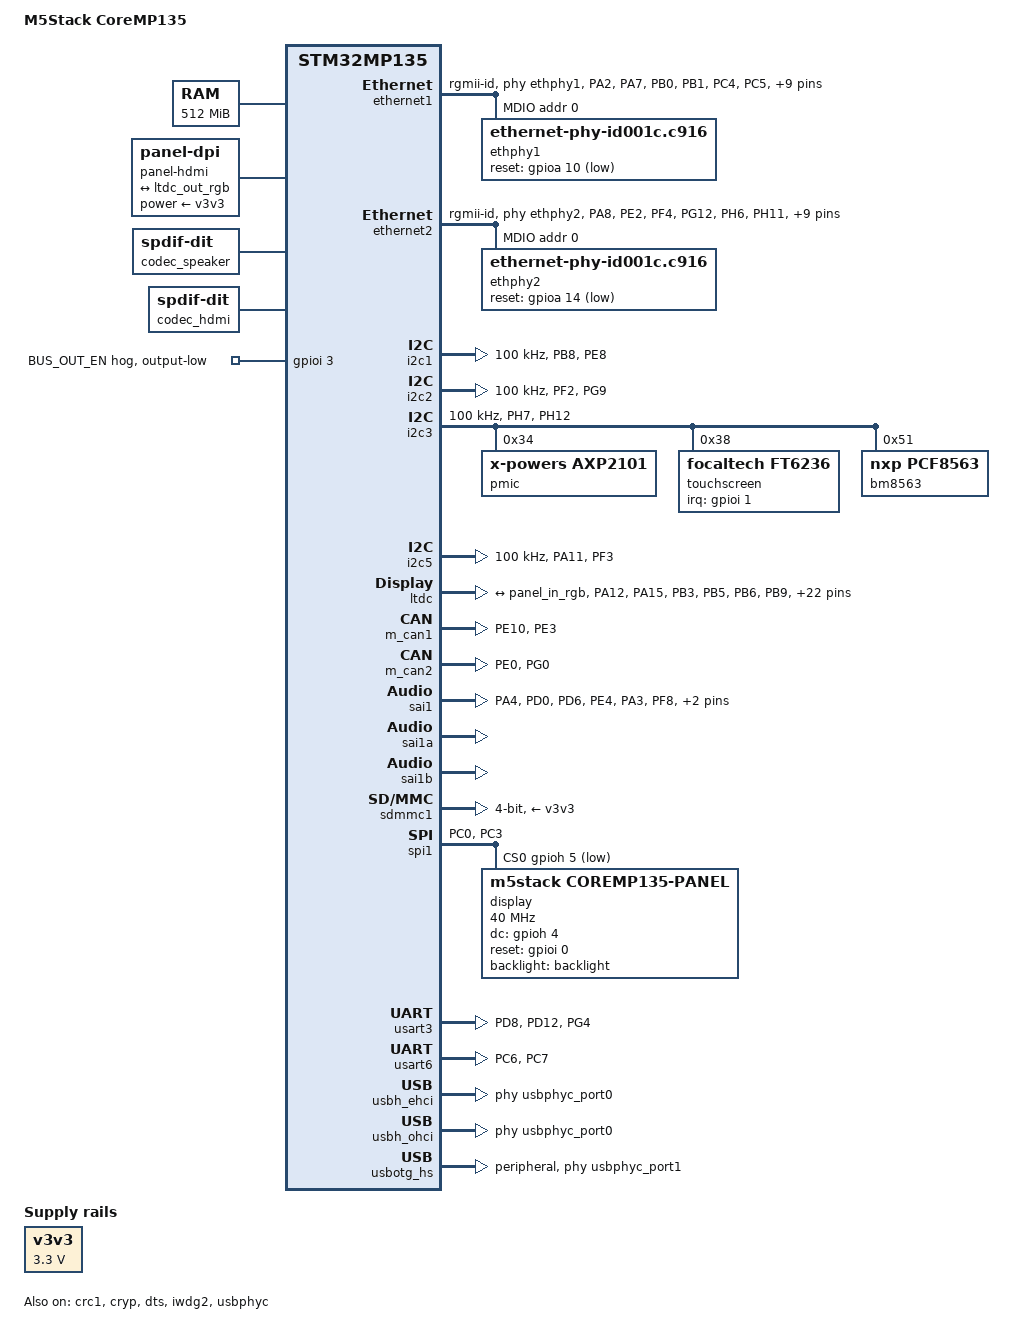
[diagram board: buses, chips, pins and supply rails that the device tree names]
// SPDX-License-Identifier: (GPL-2.0+ OR BSD-3-Clause)
/*
 * M5Stack CoreMP135 (K135)
 *
 * Mainline-style board DT, also used by U-Boot (copied into
 * dts/upstream/src/arm/st/ at build time).
 *
 * Derived from upstream stm32mp135f-dk.dts (STMicroelectronics) and the
 * vendor DTS in github.com/m5stack/CoreMP135_buildroot-external-st.
 *
 * Power: an AXP2101 PMU powers up the SoC rails with fixed defaults, so the
 * rails are modelled as fixed regulators. Linux uses the AXP2101 only for
 * poweroff and the LCD backlight (DLDO1).
 */

/dts-v1/;

#include <dt-bindings/gpio/gpio.h>
#include <dt-bindings/input/input.h>
#include <dt-bindings/interrupt-controller/irq.h>
#include <dt-bindings/regulator/st,stm32mp13-regulator.h>
#include "stm32mp135.dtsi"
#include "stm32mp13xf.dtsi"
#include "stm32mp13-pinctrl.dtsi"

/ {
	model = "M5Stack CoreMP135";
	compatible = "m5stack,coremp135", "st,stm32mp135";

	aliases {
		ethernet0 = &ethernet1;
		ethernet1 = &ethernet2;
		serial0 = &usart6;	/* PORT.C (Grove) — system console */
		serial1 = &usart1;	/* M5-Bus */
		serial2 = &usart2;	/* M5-Bus */
		serial3 = &usart3;	/* RS485 (PWR485 connector) */
		i2c0 = &i2c3;		/* internal: AXP2101, touch, RTC, HDMI bridge */
		i2c1 = &i2c5;		/* PORT.A (Grove) */
		i2c2 = &i2c1;		/* M5-Bus */
		i2c3 = &i2c2;		/* M5-Bus */
		rtc0 = &bm8563;
		mmc0 = &sdmmc1;
	};

	chosen {
		stdout-path = "serial0:115200n8";
	};

	memory@c0000000 {
		device_type = "memory";
		reg = <0xc0000000 0x20000000>;
	};

	reserved-memory {
		#address-cells = <1>;
		#size-cells = <1>;
		ranges;

		optee@dd000000 {
			reg = <0xdd000000 0x3000000>;
			no-map;
		};
	};

	v3v3: regulator-v3v3 {
		compatible = "regulator-fixed";
		regulator-name = "v3v3";
		regulator-min-microvolt = <3300000>;
		regulator-max-microvolt = <3300000>;
		regulator-always-on;
		regulator-boot-on;
	};

	/*
	 * HDMI: LTDC parallel RGB -> Lontium LT8618SXB. There is no mainline
	 * driver for the bridge yet; it is set up from userspace
	 * (coremp135-hdmi package). The LTDC drives a fixed 720p timing.
	 */
	panel-hdmi {
		compatible = "panel-dpi";
		power-supply = <&v3v3>;
		data-mapping = "rgb24";
		width-mm = <320>;
		height-mm = <180>;

		panel-timing {
			clock-frequency = <74250000>;
			hactive = <1280>;
			vactive = <720>;
			hsync-len = <40>;
			hfront-porch = <110>;
			hback-porch = <220>;
			vsync-len = <5>;
			vfront-porch = <5>;
			vback-porch = <20>;
			hsync-active = <1>;
			vsync-active = <1>;
			de-active = <1>;
			pixelclk-active = <1>;
		};

		port {
			panel_in_rgb: endpoint {
				remote-endpoint = <&ltdc_out_rgb>;
			};
		};
	};

	/* NS4168 mono class-D amp on SAI1A (no control interface) */
	sound-speaker {
		compatible = "simple-audio-card";
		simple-audio-card,name = "CoreMP135-Speaker";
		simple-audio-card,format = "i2s";
		simple-audio-card,mclk-fs = <256>;

		simple-audio-card,cpu {
			sound-dai = <&sai1a>;
		};

		simple-audio-card,codec {
			sound-dai = <&codec_speaker>;
		};
	};

	/* I2S audio into the LT8618SXB HDMI bridge on SAI1B */
	sound-hdmi {
		compatible = "simple-audio-card";
		simple-audio-card,name = "CoreMP135-HDMI";
		simple-audio-card,format = "i2s";
		simple-audio-card,mclk-fs = <256>;

		simple-audio-card,cpu {
			sound-dai = <&sai1b>;
		};

		simple-audio-card,codec {
			sound-dai = <&codec_hdmi>;
		};
	};

	codec_speaker: audio-codec-speaker {
		compatible = "linux,spdif-dit";
		#sound-dai-cells = <0>;
	};

	codec_hdmi: audio-codec-hdmi {
		compatible = "linux,spdif-dit";
		#sound-dai-cells = <0>;
	};
};

&crc1 {
	status = "okay";
};

&cryp {
	status = "okay";
};

&dts {
	status = "okay";
};

&ethernet1 {
	pinctrl-names = "default", "sleep";
	pinctrl-0 = <&eth1_pins_coremp135>;
	pinctrl-1 = <&eth1_sleep_pins_coremp135>;
	phy-mode = "rgmii-id";
	max-speed = <1000>;
	phy-handle = <&ethphy1>;
	nvmem-cells = <&ethernet_mac1_address>;
	nvmem-cell-names = "mac-address";
	status = "okay";

	mdio {
		#address-cells = <1>;
		#size-cells = <0>;
		compatible = "snps,dwmac-mdio";

		ethphy1: ethernet-phy@0 {
			/* RTL8211F; supplies the 125 MHz reference on ETH1_CLK125 */
			compatible = "ethernet-phy-id001c.c916";
			reg = <0>;
			reset-gpios = <&gpioa 10 GPIO_ACTIVE_LOW>;
			reset-assert-us = <10000>;
			reset-deassert-us = <30000>;
		};
	};
};

&ethernet2 {
	pinctrl-names = "default", "sleep";
	pinctrl-0 = <&eth2_pins_coremp135>;
	pinctrl-1 = <&eth2_sleep_pins_coremp135>;
	phy-mode = "rgmii-id";
	max-speed = <1000>;
	phy-handle = <&ethphy2>;
	nvmem-cells = <&ethernet_mac2_address>;
	nvmem-cell-names = "mac-address";
	status = "okay";

	mdio {
		#address-cells = <1>;
		#size-cells = <0>;
		compatible = "snps,dwmac-mdio";

		ethphy2: ethernet-phy@0 {
			compatible = "ethernet-phy-id001c.c916";
			reg = <0>;
			reset-gpios = <&gpioa 14 GPIO_ACTIVE_LOW>;
			reset-assert-us = <10000>;
			reset-deassert-us = <30000>;
		};
	};
};

&gpioi {
	/* 5 V direction on the M5-Bus: high = CoreMP135 supplies 5 V to the bus */
	bus-out-en-hog {
		gpio-hog;
		gpios = <3 GPIO_ACTIVE_HIGH>;
		output-low;
		line-name = "BUS_OUT_EN";
	};
};

/* M5-Bus I2C */
&i2c1 {
	pinctrl-names = "default", "sleep";
	pinctrl-0 = <&i2c1_pins_coremp135>;
	pinctrl-1 = <&i2c1_sleep_pins_coremp135>;
	clock-frequency = <100000>;
	/delete-property/dmas;
	/delete-property/dma-names;
	status = "okay";
};

/* M5-Bus I2C */
&i2c2 {
	pinctrl-names = "default", "sleep";
	pinctrl-0 = <&i2c2_pins_coremp135>;
	pinctrl-1 = <&i2c2_sleep_pins_coremp135>;
	clock-frequency = <100000>;
	/delete-property/dmas;
	/delete-property/dma-names;
	status = "okay";
};

/* Internal I2C */
&i2c3 {
	pinctrl-names = "default", "sleep";
	pinctrl-0 = <&i2c3_pins_coremp135>;
	pinctrl-1 = <&i2c3_sleep_pins_coremp135>;
	clock-frequency = <100000>;
	/delete-property/dmas;
	/delete-property/dma-names;
	status = "okay";

	pmic@34 {
		compatible = "x-powers,axp2101";
		reg = <0x34>;

		backlight: backlight {
			compatible = "m5stack,axp2101-backlight";
		};

		poweroff {
			compatible = "x-powers,axp2101-poweroff";
		};
	};

	touchscreen@38 {
		compatible = "focaltech,ft6236";
		reg = <0x38>;
		interrupt-parent = <&gpioi>;
		interrupts = <1 IRQ_TYPE_EDGE_FALLING>;
		touchscreen-size-x = <320>;
		touchscreen-size-y = <240>;
	};

	bm8563: rtc@51 {
		compatible = "nxp,pcf8563";
		reg = <0x51>;
	};
};

/* PORT.A (Grove) I2C */
&i2c5 {
	pinctrl-names = "default", "sleep";
	pinctrl-0 = <&i2c5_pins_coremp135>;
	pinctrl-1 = <&i2c5_sleep_pins_coremp135>;
	clock-frequency = <100000>;
	/delete-property/dmas;
	/delete-property/dma-names;
	status = "okay";
};

&iwdg2 {
	timeout-sec = <32>;
	status = "okay";
};

&ltdc {
	pinctrl-names = "default", "sleep";
	pinctrl-0 = <&ltdc_pins_coremp135>;
	pinctrl-1 = <&ltdc_sleep_pins_coremp135>;
	status = "okay";

	port {
		ltdc_out_rgb: endpoint {
			remote-endpoint = <&panel_in_rgb>;
		};
	};
};

&m_can1 {
	pinctrl-names = "default", "sleep";
	pinctrl-0 = <&fdcan1_pins_coremp135>;
	pinctrl-1 = <&fdcan1_sleep_pins_coremp135>;
	status = "okay";
};

&m_can2 {
	pinctrl-names = "default", "sleep";
	pinctrl-0 = <&fdcan2_pins_coremp135>;
	pinctrl-1 = <&fdcan2_sleep_pins_coremp135>;
	status = "okay";
};

/* SoC RTC is left to the secure world; the battery-backed BM8563 is rtc0. */
&rtc {
	status = "disabled";
};

&sai1 {
	clocks = <&rcc SAI1>, <&scmi_clk CK_SCMI_PLL3_Q>, <&scmi_clk CK_SCMI_PLL3_R>;
	clock-names = "pclk", "x8k", "x11k";
	pinctrl-names = "default", "sleep";
	pinctrl-0 = <&sai1a_pins_coremp135>, <&sai1b_pins_coremp135>;
	pinctrl-1 = <&sai1a_sleep_pins_coremp135>, <&sai1b_sleep_pins_coremp135>;
	status = "okay";
};

&sai1a {
	dma-names = "tx";
	#clock-cells = <0>;
	status = "okay";
};

&sai1b {
	dma-names = "tx";
	#clock-cells = <0>;
	status = "okay";
};

&sdmmc1 {
	pinctrl-names = "default", "opendrain", "sleep";
	pinctrl-0 = <&sdmmc1_b4_pins_a &sdmmc1_clk_pins_a>;
	pinctrl-1 = <&sdmmc1_b4_od_pins_a &sdmmc1_clk_pins_a>;
	pinctrl-2 = <&sdmmc1_b4_sleep_pins_a>;
	broken-cd;	/* no card-detect line */
	disable-wp;
	st,neg-edge;
	bus-width = <4>;
	vmmc-supply = <&v3v3>;
	status = "okay";
};

/* Built-in 2" 320x240 ILI9342C LCD */
&spi1 {
	pinctrl-names = "default", "sleep";
	pinctrl-0 = <&spi1_pins_coremp135>;
	pinctrl-1 = <&spi1_sleep_pins_coremp135>;
	cs-gpios = <&gpioh 5 GPIO_ACTIVE_LOW>;
	/delete-property/dmas;
	/delete-property/dma-names;
	status = "okay";

	display@0 {
		/* Init sequence: /lib/firmware/m5stack,coremp135-panel.bin */
		compatible = "m5stack,coremp135-panel", "panel-mipi-dbi-spi";
		reg = <0>;
		spi-max-frequency = <40000000>;
		dc-gpios = <&gpioh 4 GPIO_ACTIVE_HIGH>;
		/* mipi_dbi drives reset to logical 1 to run the panel, so the
		 * (physically active-low) line is described as active high,
		 * like in the panel-mipi-dbi-spi binding example. */
		reset-gpios = <&gpioi 0 GPIO_ACTIVE_HIGH>;
		write-only;
		backlight = <&backlight>;
		width-mm = <41>;
		height-mm = <31>;

		panel-timing {
			hactive = <320>;
			vactive = <240>;
			hback-porch = <0>;
			vback-porch = <0>;
			clock-frequency = <0>;
			hfront-porch = <0>;
			hsync-len = <0>;
			vfront-porch = <0>;
			vsync-len = <0>;
		};
	};
};

/* M5-Bus SPI (enable with the coremp135-mbus-spidev overlay) */
&spi4 {
	pinctrl-names = "default", "sleep";
	pinctrl-0 = <&spi4_pins_coremp135>;
	pinctrl-1 = <&spi4_sleep_pins_coremp135>;
	/delete-property/dmas;
	/delete-property/dma-names;
	status = "disabled";
};

/* M5-Bus UART (disabled; enable with an overlay) */
&usart1 {
	pinctrl-names = "default", "sleep";
	pinctrl-0 = <&usart1_pins_coremp135>;
	pinctrl-1 = <&usart1_sleep_pins_coremp135>;
	/delete-property/dmas;
	/delete-property/dma-names;
	status = "disabled";
};

/* M5-Bus UART (disabled; enable with the coremp135-mbus-uart2 overlay) */
&usart2 {
	pinctrl-names = "default", "sleep";
	pinctrl-0 = <&usart2_pins_coremp135>;
	pinctrl-1 = <&usart2_sleep_pins_coremp135>;
	/delete-property/dmas;
	/delete-property/dma-names;
	status = "disabled";
};

/* RS485 via MAX3485, driver-enable on USART3_DE (PD12) */
&usart3 {
	pinctrl-names = "default", "sleep";
	pinctrl-0 = <&usart3_pins_coremp135>;
	pinctrl-1 = <&usart3_sleep_pins_coremp135>;
	/delete-property/dmas;
	/delete-property/dma-names;
	linux,rs485-enabled-at-boot-time;
	status = "okay";
};

/* PORT.C (Grove) — console */
&usart6 {
	pinctrl-names = "default", "sleep";
	pinctrl-0 = <&usart6_pins_coremp135>;
	pinctrl-1 = <&usart6_sleep_pins_coremp135>;
	/delete-property/dmas;
	/delete-property/dma-names;
	rx-tx-swap;	/* as in M5Stack's vendor DT */
	status = "okay";
};

/* USB-A x2 behind the GL852G hub */
&usbh_ehci {
	phys = <&usbphyc_port0>;
	status = "okay";
};

&usbh_ohci {
	phys = <&usbphyc_port0>;
	status = "okay";
};

/* USB-C: device mode (USB gadget, e.g. serial console / ethernet) */
&usbotg_hs {
	dr_mode = "peripheral";
	phys = <&usbphyc_port1 0>;
	phy-names = "usb2-phy";
	status = "okay";
};

&usbphyc {
	status = "okay";
};

&usbphyc_port0 {
	phy-supply = <&v3v3>;
	st,current-boost-microamp = <1000>;
	st,decrease-hs-slew-rate;
	st,tune-hs-dc-level = <2>;
	st,enable-hs-rftime-reduction;
	st,trim-hs-current = <11>;
	st,trim-hs-impedance = <2>;
	st,tune-squelch-level = <1>;
	st,enable-hs-rx-gain-eq;
	st,no-hs-ftime-ctrl;
	st,no-lsfs-sc;
};

&usbphyc_port1 {
	phy-supply = <&v3v3>;
	st,current-boost-microamp = <1000>;
	st,decrease-hs-slew-rate;
	st,tune-hs-dc-level = <2>;
	st,enable-hs-rftime-reduction;
	st,trim-hs-current = <11>;
	st,trim-hs-impedance = <2>;
	st,tune-squelch-level = <1>;
	st,enable-hs-rx-gain-eq;
	st,no-hs-ftime-ctrl;
	st,no-lsfs-sc;
};

/* Board pin groups (from M5Stack's CubeMX-generated vendor DT) */
&pinctrl {
	eth1_pins_coremp135: eth1-coremp135-0 {
		pins1 {
			pinmux = <STM32_PINMUX('A', 2, AF11)>; /* ETH1_MDIO */
			bias-disable;
			drive-push-pull;
			slew-rate = <0>;
		};
		pins2 {
			pinmux = <STM32_PINMUX('A', 7, AF11)>, /* ETH1_RX_CTL */
					 <STM32_PINMUX('B', 0, AF11)>, /* ETH1_RXD2 */
					 <STM32_PINMUX('B', 1, AF11)>, /* ETH1_RXD3 */
					 <STM32_PINMUX('C', 4, AF11)>, /* ETH1_RXD0 */
					 <STM32_PINMUX('C', 5, AF11)>, /* ETH1_RXD1 */
					 <STM32_PINMUX('D', 7, AF10)>; /* ETH1_RX_CLK */
			bias-disable;
		};
		pins3 {
			pinmux = <STM32_PINMUX('B', 11, AF11)>, /* ETH1_TX_CTL */
					 <STM32_PINMUX('C', 1, AF11)>, /* ETH1_GTX_CLK */
					 <STM32_PINMUX('C', 2, AF11)>, /* ETH1_TXD2 */
					 <STM32_PINMUX('E', 5, AF10)>, /* ETH1_TXD3 */
					 <STM32_PINMUX('G', 2, AF11)>, /* ETH1_MDC */
					 <STM32_PINMUX('F', 12, AF11)>, /* ETH1_CLK125 */
					 <STM32_PINMUX('G', 13, AF11)>, /* ETH1_TXD0 */
					 <STM32_PINMUX('G', 14, AF11)>; /* ETH1_TXD1 */
			bias-disable;
			drive-push-pull;
			slew-rate = <2>;
		};
	};

	eth1_sleep_pins_coremp135: eth1-sleep-coremp135-0 {
		pins {
			pinmux = <STM32_PINMUX('A', 2, ANALOG)>, /* ETH1_MDIO */
					 <STM32_PINMUX('A', 7, ANALOG)>, /* ETH1_RX_CTL */
					 <STM32_PINMUX('B', 0, ANALOG)>, /* ETH1_RXD2 */
					 <STM32_PINMUX('B', 1, ANALOG)>, /* ETH1_RXD3 */
					 <STM32_PINMUX('B', 11, ANALOG)>, /* ETH1_TX_CTL */
					 <STM32_PINMUX('C', 1, ANALOG)>, /* ETH1_GTX_CLK */
					 <STM32_PINMUX('C', 2, ANALOG)>, /* ETH1_TXD2 */
					 <STM32_PINMUX('C', 4, ANALOG)>, /* ETH1_RXD0 */
					 <STM32_PINMUX('C', 5, ANALOG)>, /* ETH1_RXD1 */
					 <STM32_PINMUX('D', 7, ANALOG)>, /* ETH1_RX_CLK */
					 <STM32_PINMUX('E', 5, ANALOG)>, /* ETH1_TXD3 */
					 <STM32_PINMUX('G', 2, ANALOG)>, /* ETH1_MDC */
					 <STM32_PINMUX('F', 12, ANALOG)>, /* ETH1_CLK125 */
					 <STM32_PINMUX('G', 13, ANALOG)>, /* ETH1_TXD0 */
					 <STM32_PINMUX('G', 14, ANALOG)>; /* ETH1_TXD1 */
		};
	};

	eth2_pins_coremp135: eth2-coremp135-0 {
		pins1 {
			pinmux = <STM32_PINMUX('A', 8, AF11)>, /* ETH2_RXD3 */
					 <STM32_PINMUX('E', 2, AF10)>, /* ETH2_RXD1 */
					 <STM32_PINMUX('F', 4, AF11)>, /* ETH2_RXD0 */
					 <STM32_PINMUX('G', 12, AF12)>, /* ETH2_RX_CTL */
					 <STM32_PINMUX('H', 6, AF12)>, /* ETH2_RXD2 */
					 <STM32_PINMUX('H', 11, AF11)>; /* ETH2_RX_CLK */
			bias-disable;
		};
		pins2 {
			pinmux = <STM32_PINMUX('B', 2, AF11)>; /* ETH2_MDIO */
			bias-disable;
			drive-push-pull;
			slew-rate = <0>;
		};
		pins3 {
			pinmux = <STM32_PINMUX('E', 6, AF11)>, /* ETH2_TXD3 */
					 <STM32_PINMUX('F', 6, AF11)>, /* ETH2_TX_CTL */
					 <STM32_PINMUX('F', 7, AF11)>, /* ETH2_TXD0 */
					 <STM32_PINMUX('G', 1, AF10)>, /* ETH2_TXD2 */
					 <STM32_PINMUX('G', 3, AF10)>, /* ETH2_GTX_CLK */
					 <STM32_PINMUX('G', 5, AF10)>, /* ETH2_MDC */
					 <STM32_PINMUX('G', 11, AF10)>, /* ETH2_TXD1 */
					 <STM32_PINMUX('H', 2, AF13)>; /* ETH2_CLK125 */
			bias-disable;
			drive-push-pull;
			slew-rate = <2>;
		};
	};

	eth2_sleep_pins_coremp135: eth2-sleep-coremp135-0 {
		pins {
			pinmux = <STM32_PINMUX('A', 8, ANALOG)>, /* ETH2_RXD3 */
					 <STM32_PINMUX('B', 2, ANALOG)>, /* ETH2_MDIO */
					 <STM32_PINMUX('E', 2, ANALOG)>, /* ETH2_RXD1 */
					 <STM32_PINMUX('E', 6, ANALOG)>, /* ETH2_TXD3 */
					 <STM32_PINMUX('F', 4, ANALOG)>, /* ETH2_RXD0 */
					 <STM32_PINMUX('F', 6, ANALOG)>, /* ETH2_TX_CTL */
					 <STM32_PINMUX('F', 7, ANALOG)>, /* ETH2_TXD0 */
					 <STM32_PINMUX('G', 1, ANALOG)>, /* ETH2_TXD2 */
					 <STM32_PINMUX('G', 3, ANALOG)>, /* ETH2_GTX_CLK */
					 <STM32_PINMUX('G', 5, ANALOG)>, /* ETH2_MDC */
					 <STM32_PINMUX('H', 2, ANALOG)>, /* ETH2_CLK125 */
					 <STM32_PINMUX('G', 11, ANALOG)>, /* ETH2_TXD1 */
					 <STM32_PINMUX('G', 12, ANALOG)>, /* ETH2_RX_CTL */
					 <STM32_PINMUX('H', 6, ANALOG)>, /* ETH2_RXD2 */
					 <STM32_PINMUX('H', 11, ANALOG)>; /* ETH2_RX_CLK */
		};
	};

	fdcan1_pins_coremp135: fdcan1-coremp135-0 {
		pins1 {
			pinmux = <STM32_PINMUX('E', 10, AF9)>; /* FDCAN1_TX */
			bias-disable;
			drive-push-pull;
			slew-rate = <0>;
		};
		pins2 {
			pinmux = <STM32_PINMUX('E', 3, AF9)>; /* FDCAN1_RX */
			bias-disable;
		};
	};

	fdcan1_sleep_pins_coremp135: fdcan1-sleep-coremp135-0 {
		pins {
			pinmux = <STM32_PINMUX('E', 3, ANALOG)>, /* FDCAN1_RX */
					 <STM32_PINMUX('E', 10, ANALOG)>; /* FDCAN1_TX */
		};
	};

	fdcan2_pins_coremp135: fdcan2-coremp135-0 {
		pins1 {
			pinmux = <STM32_PINMUX('E', 0, AF9)>; /* FDCAN2_RX */
			bias-disable;
		};
		pins2 {
			pinmux = <STM32_PINMUX('G', 0, AF9)>; /* FDCAN2_TX */
			bias-disable;
			drive-push-pull;
			slew-rate = <0>;
		};
	};

	fdcan2_sleep_pins_coremp135: fdcan2-sleep-coremp135-0 {
		pins {
			pinmux = <STM32_PINMUX('E', 0, ANALOG)>, /* FDCAN2_RX */
					 <STM32_PINMUX('G', 0, ANALOG)>; /* FDCAN2_TX */
		};
	};

	i2c1_pins_coremp135: i2c1-coremp135-0 {
		pins {
			pinmux = <STM32_PINMUX('B', 8, AF4)>, /* I2C1_SCL */
					 <STM32_PINMUX('E', 8, AF5)>; /* I2C1_SDA */
			bias-disable;
			drive-open-drain;
			slew-rate = <0>;
		};
	};

	i2c1_sleep_pins_coremp135: i2c1-sleep-coremp135-0 {
		pins {
			pinmux = <STM32_PINMUX('B', 8, ANALOG)>, /* I2C1_SCL */
					 <STM32_PINMUX('E', 8, ANALOG)>; /* I2C1_SDA */
		};
	};

	i2c2_pins_coremp135: i2c2-coremp135-0 {
		pins {
			pinmux = <STM32_PINMUX('F', 2, AF4)>, /* I2C2_SCL */
					 <STM32_PINMUX('G', 9, AF4)>; /* I2C2_SDA */
			bias-disable;
			drive-open-drain;
			slew-rate = <0>;
		};
	};

	i2c2_sleep_pins_coremp135: i2c2-sleep-coremp135-0 {
		pins {
			pinmux = <STM32_PINMUX('F', 2, ANALOG)>, /* I2C2_SCL */
					 <STM32_PINMUX('G', 9, ANALOG)>; /* I2C2_SDA */
		};
	};

	i2c3_pins_coremp135: i2c3-coremp135-0 {
		pins {
			pinmux = <STM32_PINMUX('H', 7, AF5)>, /* I2C3_SDA */
					 <STM32_PINMUX('H', 12, AF4)>; /* I2C3_SCL */
			bias-disable;
			drive-open-drain;
			slew-rate = <0>;
		};
	};

	i2c3_sleep_pins_coremp135: i2c3-sleep-coremp135-0 {
		pins {
			pinmux = <STM32_PINMUX('H', 7, ANALOG)>, /* I2C3_SDA */
					 <STM32_PINMUX('H', 12, ANALOG)>; /* I2C3_SCL */
		};
	};

	i2c5_pins_coremp135: i2c5-coremp135-0 {
		pins {
			pinmux = <STM32_PINMUX('A', 11, AF4)>, /* I2C5_SCL */
					 <STM32_PINMUX('F', 3, AF4)>; /* I2C5_SDA */
			bias-disable;
			drive-open-drain;
			slew-rate = <0>;
		};
	};

	i2c5_sleep_pins_coremp135: i2c5-sleep-coremp135-0 {
		pins {
			pinmux = <STM32_PINMUX('A', 11, ANALOG)>, /* I2C5_SCL */
					 <STM32_PINMUX('F', 3, ANALOG)>; /* I2C5_SDA */
		};
	};

	ltdc_pins_coremp135: ltdc-coremp135-0 {
		pins1 {
			pinmux = <STM32_PINMUX('A', 12, AF14)>, /* LTDC_G6 */
					 <STM32_PINMUX('A', 15, AF11)>, /* LTDC_G7 */
					 <STM32_PINMUX('B', 3, AF14)>, /* LTDC_B2 */
					 <STM32_PINMUX('B', 5, AF13)>, /* LTDC_B6 */
					 <STM32_PINMUX('B', 6, AF14)>, /* LTDC_B7 */
					 <STM32_PINMUX('B', 9, AF14)>, /* LTDC_B1 */
					 <STM32_PINMUX('B', 12, AF13)>, /* LTDC_R3 */
					 <STM32_PINMUX('B', 14, AF13)>, /* LTDC_R0 */
					 <STM32_PINMUX('D', 1, AF14)>, /* LTDC_G2 */
					 <STM32_PINMUX('D', 4, AF11)>, /* LTDC_R1 */
					 <STM32_PINMUX('D', 5, AF13)>, /* LTDC_B0 */
					 <STM32_PINMUX('D', 9, AF11)>, /* LTDC_B5 */
					 <STM32_PINMUX('D', 10, AF9)>, /* LTDC_G5 */
					 <STM32_PINMUX('D', 13, AF14)>, /* LTDC_G4 */
					 <STM32_PINMUX('E', 1, AF11)>, /* LTDC_R4 */
					 <STM32_PINMUX('E', 7, AF14)>, /* LTDC_R5 */
					 <STM32_PINMUX('E', 12, AF9)>, /* LTDC_VSYNC */
					 <STM32_PINMUX('F', 0, AF13)>, /* LTDC_R6 */
					 <STM32_PINMUX('F', 1, AF14)>, /* LTDC_G1 */
					 <STM32_PINMUX('F', 5, AF9)>, /* LTDC_G0 */
					 <STM32_PINMUX('G', 6, AF14)>, /* LTDC_R7 */
					 <STM32_PINMUX('G', 7, AF14)>, /* LTDC_R2 */
					 <STM32_PINMUX('G', 15, AF14)>, /* LTDC_B3 */
					 <STM32_PINMUX('H', 9, AF11)>, /* LTDC_DE */
					 <STM32_PINMUX('H', 10, AF13)>, /* LTDC_HSYNC */
					 <STM32_PINMUX('H', 13, AF13)>, /* LTDC_G3 */
					 <STM32_PINMUX('H', 14, AF11)>; /* LTDC_B4 */
			bias-disable;
			drive-push-pull;
			slew-rate = <0>;
		};
		pins2 {
			pinmux = <STM32_PINMUX('B', 15, AF13)>; /* LTDC_CLK */
			bias-disable;
			drive-push-pull;
			slew-rate = <1>;
		};
	};

	ltdc_sleep_pins_coremp135: ltdc-sleep-coremp135-0 {
		pins {
			pinmux = <STM32_PINMUX('A', 12, ANALOG)>, /* LTDC_G6 */
					 <STM32_PINMUX('A', 15, ANALOG)>, /* LTDC_G7 */
					 <STM32_PINMUX('B', 3, ANALOG)>, /* LTDC_B2 */
					 <STM32_PINMUX('B', 5, ANALOG)>, /* LTDC_B6 */
					 <STM32_PINMUX('B', 6, ANALOG)>, /* LTDC_B7 */
					 <STM32_PINMUX('B', 9, ANALOG)>, /* LTDC_B1 */
					 <STM32_PINMUX('B', 12, ANALOG)>, /* LTDC_R3 */
					 <STM32_PINMUX('B', 14, ANALOG)>, /* LTDC_R0 */
					 <STM32_PINMUX('B', 15, ANALOG)>, /* LTDC_CLK */
					 <STM32_PINMUX('D', 1, ANALOG)>, /* LTDC_G2 */
					 <STM32_PINMUX('D', 4, ANALOG)>, /* LTDC_R1 */
					 <STM32_PINMUX('D', 5, ANALOG)>, /* LTDC_B0 */
					 <STM32_PINMUX('D', 9, ANALOG)>, /* LTDC_B5 */
					 <STM32_PINMUX('D', 10, ANALOG)>, /* LTDC_G5 */
					 <STM32_PINMUX('D', 13, ANALOG)>, /* LTDC_G4 */
					 <STM32_PINMUX('E', 1, ANALOG)>, /* LTDC_R4 */
					 <STM32_PINMUX('E', 7, ANALOG)>, /* LTDC_R5 */
					 <STM32_PINMUX('E', 12, ANALOG)>, /* LTDC_VSYNC */
					 <STM32_PINMUX('F', 0, ANALOG)>, /* LTDC_R6 */
					 <STM32_PINMUX('F', 1, ANALOG)>, /* LTDC_G1 */
					 <STM32_PINMUX('F', 5, ANALOG)>, /* LTDC_G0 */
					 <STM32_PINMUX('G', 6, ANALOG)>, /* LTDC_R7 */
					 <STM32_PINMUX('G', 7, ANALOG)>, /* LTDC_R2 */
					 <STM32_PINMUX('G', 15, ANALOG)>, /* LTDC_B3 */
					 <STM32_PINMUX('H', 9, ANALOG)>, /* LTDC_DE */
					 <STM32_PINMUX('H', 10, ANALOG)>, /* LTDC_HSYNC */
					 <STM32_PINMUX('H', 13, ANALOG)>, /* LTDC_G3 */
					 <STM32_PINMUX('H', 14, ANALOG)>; /* LTDC_B4 */
		};
	};

	sai1a_pins_coremp135: sai1a-coremp135-0 {
		pins {
			pinmux = <STM32_PINMUX('A', 4, AF12)>, /* SAI1_SCK_A */
					 <STM32_PINMUX('D', 0, AF2)>, /* SAI1_MCLK_A */
					 <STM32_PINMUX('D', 6, AF6)>, /* SAI1_SD_A */
					 <STM32_PINMUX('E', 4, AF6)>; /* SAI1_FS_A */
			bias-disable;
			drive-push-pull;
			slew-rate = <0>;
		};
	};

	sai1a_sleep_pins_coremp135: sai1a-sleep-coremp135-0 {
		pins {
			pinmux = <STM32_PINMUX('A', 4, ANALOG)>, /* SAI1_SCK_A */
					 <STM32_PINMUX('D', 0, ANALOG)>, /* SAI1_MCLK_A */
					 <STM32_PINMUX('D', 6, ANALOG)>, /* SAI1_SD_A */
					 <STM32_PINMUX('E', 4, ANALOG)>; /* SAI1_FS_A */
		};
	};

	sai1b_pins_coremp135: sai1b-coremp135-0 {
		pins {
			pinmux = <STM32_PINMUX('A', 3, AF6)>, /* SAI1_FS_B */
					 <STM32_PINMUX('F', 8, AF6)>, /* SAI1_SCK_B */
					 <STM32_PINMUX('F', 13, AF2)>, /* SAI1_MCLK_B */
					 <STM32_PINMUX('G', 10, AF6)>; /* SAI1_SD_B */
			bias-disable;
			drive-push-pull;
			slew-rate = <0>;
		};
	};

	sai1b_sleep_pins_coremp135: sai1b-sleep-coremp135-0 {
		pins {
			pinmux = <STM32_PINMUX('A', 3, ANALOG)>, /* SAI1_FS_B */
					 <STM32_PINMUX('F', 8, ANALOG)>, /* SAI1_SCK_B */
					 <STM32_PINMUX('F', 13, ANALOG)>, /* SAI1_MCLK_B */
					 <STM32_PINMUX('G', 10, ANALOG)>; /* SAI1_SD_B */
		};
	};

	spi1_pins_coremp135: spi1-coremp135-0 {
		pins {
			pinmux = <STM32_PINMUX('C', 0, AF6)>, /* SPI1_MOSI */
					 <STM32_PINMUX('C', 3, AF6)>; /* SPI1_SCK */
			bias-disable;
			drive-push-pull;
			slew-rate = <1>;
		};
	};

	spi1_sleep_pins_coremp135: spi1-sleep-coremp135-0 {
		pins {
			pinmux = <STM32_PINMUX('C', 0, ANALOG)>, /* SPI1_MOSI */
					 <STM32_PINMUX('C', 3, ANALOG)>; /* SPI1_SCK */
		};
	};

	spi4_pins_coremp135: spi4-coremp135-0 {
		pins {
			pinmux = <STM32_PINMUX('B', 4, AF5)>, /* SPI4_SCK */
					 <STM32_PINMUX('E', 11, AF5)>, /* SPI4_MOSI */
					 <STM32_PINMUX('E', 13, AF5)>; /* SPI4_MISO */
			bias-disable;
			drive-push-pull;
			slew-rate = <1>;
		};
	};

	spi4_sleep_pins_coremp135: spi4-sleep-coremp135-0 {
		pins {
			pinmux = <STM32_PINMUX('B', 4, ANALOG)>, /* SPI4_SCK */
					 <STM32_PINMUX('E', 11, ANALOG)>, /* SPI4_MOSI */
					 <STM32_PINMUX('E', 13, ANALOG)>; /* SPI4_MISO */
		};
	};

	usart1_pins_coremp135: usart1-coremp135-0 {
		pins1 {
			pinmux = <STM32_PINMUX('A', 9, AF7)>; /* USART1_TX */
			bias-disable;
			drive-push-pull;
			slew-rate = <0>;
		};
		pins2 {
			pinmux = <STM32_PINMUX('D', 14, AF7)>; /* USART1_RX */
			bias-disable;
		};
	};

	usart1_sleep_pins_coremp135: usart1-sleep-coremp135-0 {
		pins {
			pinmux = <STM32_PINMUX('A', 9, ANALOG)>, /* USART1_TX */
					 <STM32_PINMUX('D', 14, ANALOG)>; /* USART1_RX */
		};
	};

	usart2_pins_coremp135: usart2-coremp135-0 {
		pins1 {
			pinmux = <STM32_PINMUX('F', 11, AF1)>; /* USART2_TX */
			bias-disable;
			drive-push-pull;
			slew-rate = <0>;
		};
		pins2 {
			pinmux = <STM32_PINMUX('H', 8, AF3)>; /* USART2_RX */
			bias-disable;
		};
	};

	usart2_sleep_pins_coremp135: usart2-sleep-coremp135-0 {
		pins {
			pinmux = <STM32_PINMUX('F', 11, ANALOG)>, /* USART2_TX */
					 <STM32_PINMUX('H', 8, ANALOG)>; /* USART2_RX */
		};
	};

	usart3_pins_coremp135: usart3-coremp135-0 {
		pins1 {
			pinmux = <STM32_PINMUX('D', 8, AF7)>, /* USART3_TX */
					 <STM32_PINMUX('D', 12, AF7)>; /* USART3_DE */
			bias-disable;
			drive-push-pull;
			slew-rate = <0>;
		};
		pins2 {
			pinmux = <STM32_PINMUX('G', 4, AF8)>; /* USART3_RX */
			bias-disable;
		};
	};

	usart3_sleep_pins_coremp135: usart3-sleep-coremp135-0 {
		pins {
			pinmux = <STM32_PINMUX('D', 8, ANALOG)>, /* USART3_TX */
					 <STM32_PINMUX('D', 12, ANALOG)>, /* USART3_DE */
					 <STM32_PINMUX('G', 4, ANALOG)>; /* USART3_RX */
		};
	};

	usart6_pins_coremp135: usart6-coremp135-0 {
		pins1 {
			pinmux = <STM32_PINMUX('C', 6, AF7)>; /* USART6_TX */
			bias-pull-up;
		};
		pins2 {
			pinmux = <STM32_PINMUX('C', 7, AF7)>; /* USART6_RX */
			bias-disable;
			drive-push-pull;
			slew-rate = <0>;
		};
	};

	usart6_sleep_pins_coremp135: usart6-sleep-coremp135-0 {
		pins {
			pinmux = <STM32_PINMUX('C', 6, ANALOG)>, /* USART6_TX */
					 <STM32_PINMUX('C', 7, ANALOG)>; /* USART6_RX */
		};
	};
};
